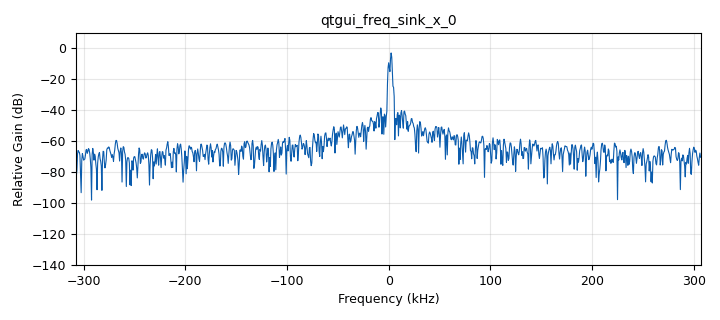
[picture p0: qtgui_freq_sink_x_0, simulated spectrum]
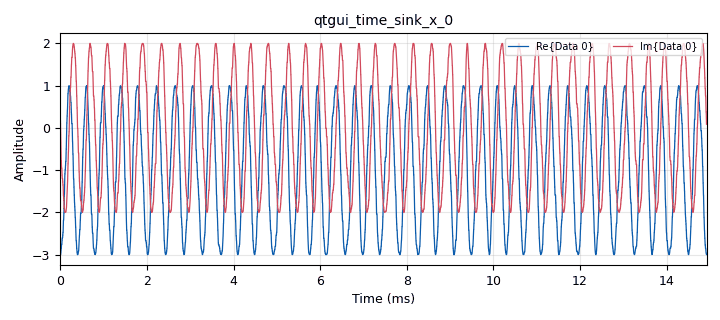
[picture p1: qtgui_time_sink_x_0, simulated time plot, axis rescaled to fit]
options:
  parameters:
    author: knud
    generate_options: qt_gui
    id: FSK_test
    output_language: python
    title: Not titled yet
  states: {}

blocks:
- name: baud
  id: variable
  parameters:
    value: '19200'
  states: {}
- name: fm_samples_per_symbol
  id: variable
  parameters:
    value: '32'
  states: {}
- name: freq_dev
  id: variable
  parameters:
    value: '4800'
  states: {}
- name: samp_rate
  id: variable
  parameters:
    value: baud*fm_samples_per_symbol
  states: {}
- name: sensitivity_tx
  id: variable
  parameters:
    value: 2*math.pi*freq_dev/baud/fm_samples_per_symbol
  states: {}
- name: analog_frequency_modulator_fc_0
  id: analog_frequency_modulator_fc
  parameters:
    sensitivity: sensitivity_tx
  states: {}
- name: blocks_add_const_vxx_0
  id: blocks_add_const_vxx
  parameters:
    const: '-1'
    type: complex
  states: {}
- name: blocks_char_to_float_0
  id: blocks_char_to_float
  parameters:
    scale: '1'
  states: {}
- name: blocks_message_strobe_0
  id: blocks_message_strobe
  parameters:
    msg: pmt.intern("TEST")
    period: '10'
  states: {}
- name: blocks_multiply_const_vxx_0
  id: blocks_multiply_const_vxx
  parameters:
    const: '2'
    type: complex
  states: {}
- name: blocks_pdu_to_tagged_stream_0
  id: blocks_pdu_to_tagged_stream
  parameters:
    tag: packet_len
    type: byte
  states: {}
- name: blocks_random_pdu_0
  id: blocks_random_pdu
  parameters:
    length_modulo: '1'
    mask: '0xFF'
    maxsize: '2000'
    minsize: '50'
  states: {}
- name: blocks_unpack_k_bits_bb_0
  id: blocks_unpack_k_bits_bb
  parameters:
    k: '8'
  states: {}
- name: import_0
  id: import
  parameters:
    imports: import math
  states: {}
- name: qtgui_freq_sink_x_0
  id: qtgui_freq_sink_x
  parameters:
    bw: samp_rate
    ctrlpanel: 'True'
    fc: '0'
    fftsize: '1024'
    type: complex
  states: {}
- name: qtgui_time_sink_x_0
  id: qtgui_time_sink_x
  parameters:
    size: '9168'
    srate: samp_rate
    type: complex
  states: {}

connections:
- [analog_frequency_modulator_fc_0, '0', blocks_multiply_const_vxx_0, '0']
- [blocks_add_const_vxx_0, '0', qtgui_freq_sink_x_0, '0']
- [blocks_add_const_vxx_0, '0', qtgui_time_sink_x_0, '0']
- [blocks_char_to_float_0, '0', analog_frequency_modulator_fc_0, '0']
- [blocks_message_strobe_0, strobe, blocks_random_pdu_0, generate]
- [blocks_multiply_const_vxx_0, '0', blocks_add_const_vxx_0, '0']
- [blocks_pdu_to_tagged_stream_0, '0', blocks_unpack_k_bits_bb_0, '0']
- [blocks_random_pdu_0, pdus, blocks_pdu_to_tagged_stream_0, pdus]
- [blocks_unpack_k_bits_bb_0, '0', blocks_char_to_float_0, '0']

metadata:
  file_format: 1
  grc_version: 3.9.7.0
